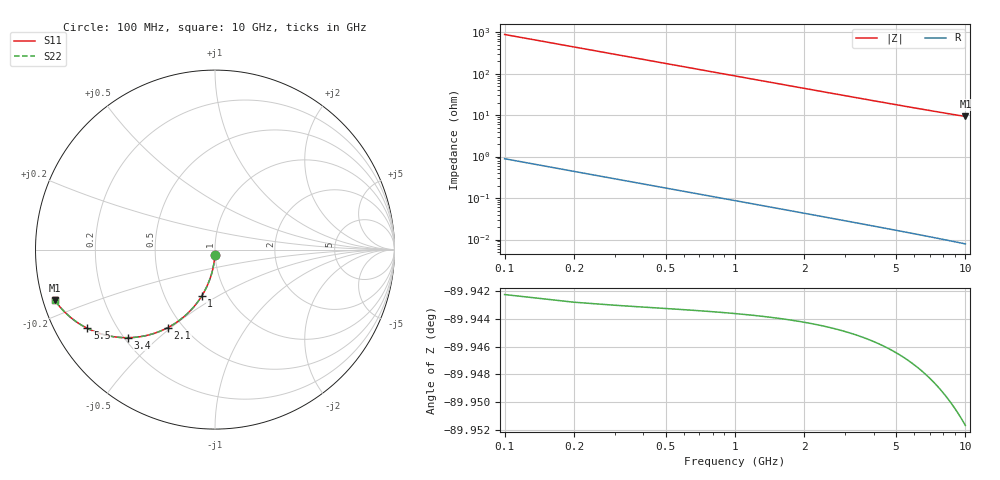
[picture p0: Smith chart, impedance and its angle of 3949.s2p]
# Hz S RI R 50.00
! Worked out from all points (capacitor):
!   100 points, 100 MHz to 10 GHz, reference 50 ohm
!   read as one part in shunt: C = 1.81 pF near 100 MHz
!   lowest |Z| = 9.29 ohm at 10 GHz (marker M1)
!   S11 on the Smith chart (normalised r, x): 100 MHz: 1.00, -0.06; 1 GHz: 0.76, -0.43; 2.1 GHz: 0.42, -0.49; 3.4 GHz: 0.22, -0.40; 5.5 GHz: 0.10, -0.28; 10 GHz: 0.03, -0.15
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1e8  -0.000789 -0.0281  0.9991 -0.0286  0.9991 -0.0286  -0.000789 -0.0281
2e8  -0.00322 -0.0561  0.9967 -0.0571  0.9967 -0.0571  -0.00322 -0.0561
3e8  -0.00724 -0.0838  0.9927 -0.0853  0.9927 -0.0853  -0.00724 -0.0838
4e8  -0.0128 -0.1111  0.9871 -0.113  0.9871 -0.113  -0.0128 -0.1111
5e8  -0.0198 -0.1379  0.9801 -0.1403  0.9801 -0.1403  -0.0198 -0.1379
6e8  -0.0283 -0.164  0.9716 -0.1669  0.9716 -0.1669  -0.0283 -0.164
7e8  -0.0381 -0.1894  0.9618 -0.1928  0.9618 -0.1928  -0.0381 -0.1894
8e8  -0.0492 -0.2139  0.9507 -0.2178  0.9507 -0.2178  -0.0492 -0.2139
1e9  -0.0748 -0.2602  0.9251 -0.265  0.9251 -0.265  -0.0748 -0.2602
1.2e9  -0.1042 -0.3022  0.8957 -0.308  0.8957 -0.308  -0.1042 -0.3022
1.4e9  -0.1366 -0.3396  0.8632 -0.3465  0.8632 -0.3465  -0.1366 -0.3396
1.8e9  -0.2074 -0.4006  0.7925 -0.4094  0.7925 -0.4094  -0.2074 -0.4006
2.1e9  -0.2626 -0.4344  0.7373 -0.4447  0.7373 -0.4447  -0.2626 -0.4344
2.7e9  -0.3706 -0.4758  0.6292 -0.4891  0.6292 -0.4891  -0.3706 -0.4758
3.4e9  -0.4831 -0.4908  0.5166 -0.5076  0.5166 -0.5076  -0.4831 -0.4908
4.2e9  -0.5882 -0.4812  0.4115 -0.5021  0.4115 -0.5021  -0.5882 -0.4812
5.1e9  -0.6786 -0.4536  0.321 -0.4792  0.321 -0.4792  -0.6786 -0.4536
5.5e9  -0.7109 -0.4389  0.2886 -0.4666  0.2886 -0.4666  -0.7109 -0.4389
6.7e9  -0.7856 -0.3926  0.2137 -0.4266  0.2137 -0.4266  -0.7856 -0.3926
7.5e9  -0.8217 -0.3627  0.1775 -0.4011  0.1775 -0.4011  -0.8217 -0.3627
8.4e9  -0.8531 -0.3313  0.1459 -0.3746  0.1459 -0.3746  -0.8531 -0.3313
1e10  -0.8925 -0.2822  0.1061 -0.3345  0.1061 -0.3345  -0.8925 -0.2822
